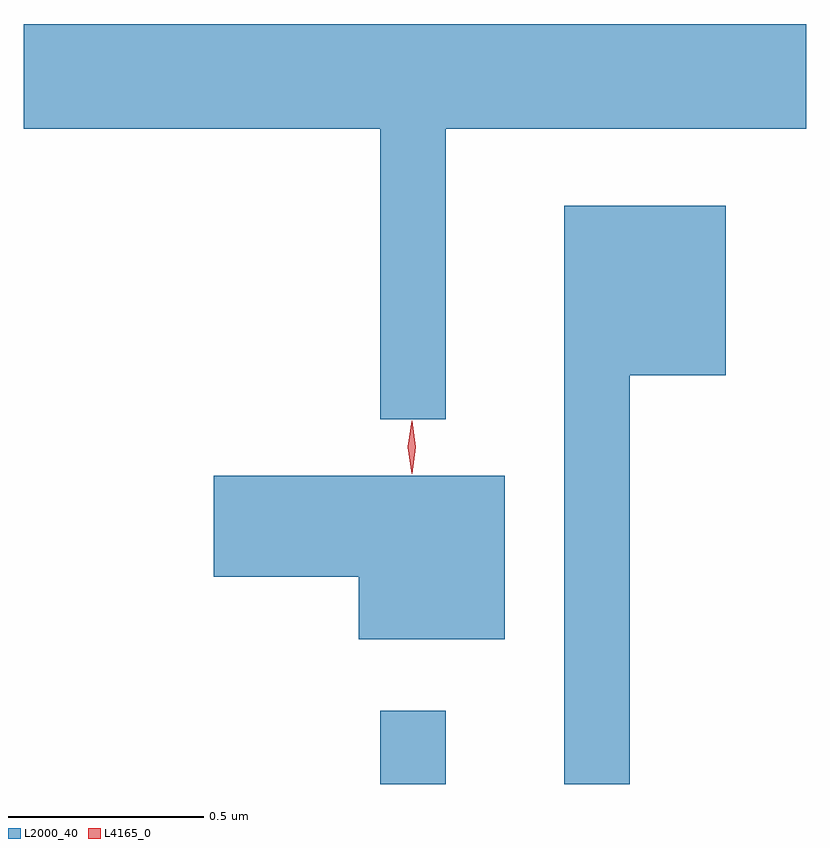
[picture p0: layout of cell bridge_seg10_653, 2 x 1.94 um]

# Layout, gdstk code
import gdstk
lib = gdstk.Library(unit=1e-6, precision=1e-09)
def R(c, l, rs):  # rectangles x0, y0, x1, y1
    for r in rs: c.add(gdstk.rectangle(r[:2], r[2:], *l))
def P(c, l, *ps):  # polygons
    for p in ps: c.add(gdstk.Polygon(p, *l))
L2000_40 = (2000, 40)
L4165_0 = (4165, 0)

bridge_seg10_653 = lib.new_cell('bridge_seg10_653')
R(bridge_seg10_653, L2000_40, [(750.001,2098.921,750.169,2099.108)])
P(bridge_seg10_653, L2000_40, [(750.169,2100.596),(751.09,2100.596),(751.09,2100.864),(749.09,2100.864),(749.09,2100.596),(750.001,2100.596),(750.001,2099.853),(750.169,2099.853)],
  [(750.639,2099.966),(750.884,2099.966),(750.884,2100.399),(750.471,2100.399),(750.471,2098.921),(750.639,2098.921)],
  [(750.319,2099.709),(749.576,2099.709),(749.576,2099.451),(749.946,2099.451),(749.946,2099.291),(750.319,2099.291)])
P(bridge_seg10_653, L4165_0, [(750.082,2099.72),(750.082,2099.72),(750.072,2099.783),(750.082,2099.846),(750.082,2099.847),(750.083,2099.846),(750.092,2099.783),(750.083,2099.72)],
  [(750.082,2099.714),(750.082,2099.714),(750.072,2099.782),(750.082,2099.85),(750.082,2099.85),(750.083,2099.85),(750.092,2099.782),(750.083,2099.714)])

lib.write_gds('bridge_seg10_653.gds')
